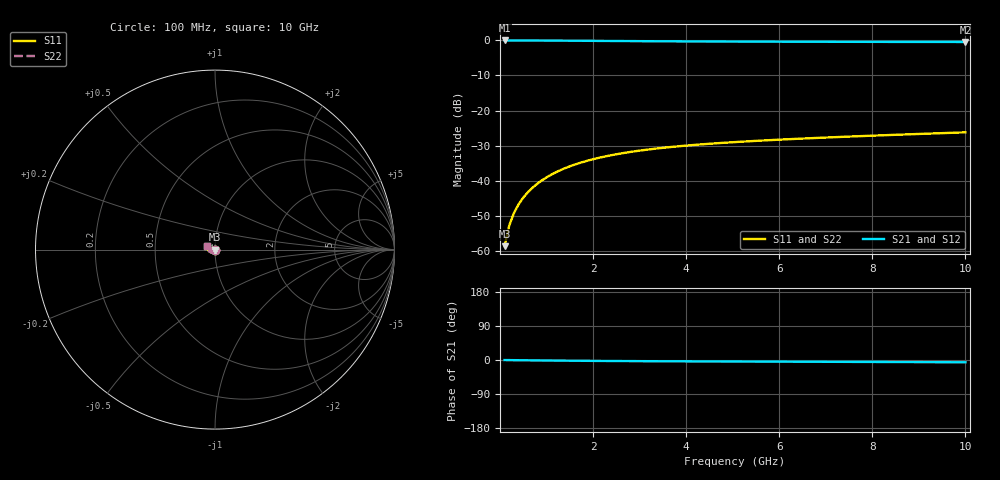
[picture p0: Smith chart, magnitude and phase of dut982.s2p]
! Touchstone file exported from HFSS 2024.1.0
!  File:  C:/UserFiles/LocalFiles/RDL_TSV_Batchsim/temp_TSV1_982_1779952079.aedt
!  Generated:  03:13:51 PM May 28, 2026
!  Design:  TSV1
!  Project:  temp_TSV1_982_1779952079
!  Setup:  Setup1
!  Solution:  Sweep
! Variables:
!  dtsv = 9.14um
!  hbump = 3um
!  htsv = 90.71um
!  lrdl = 252.1521522um
!  p = 40
!  p1 = 59.82um
!  t = 500um
!  trdl = 3um
!  wrdl = 24.89489489um
# GHz S MA R 50.000000
! Terminal data exported
! Port[1] = TSV22_T1
! Port[2] = TSV22_T2
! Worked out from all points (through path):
!   100 points, 100 MHz to 10 GHz, reference 50 ohm
!   highest |S21| = 0.00 dB at 100 MHz (marker M1); lowest = -0.4 dB at 10 GHz (marker M2)
!   lowest |S11| = -58.7 dB at 100 MHz (marker M3), VSWR 1.00, Z = 50 - j0.115 ohm
!   |S11| at or under -10 dB: start of sweep to end of sweep
!   |S22| runs from -58.7 to -26.2 dB; largest |S21 - S12| = 7.3e-15
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0.1  0.001158 -82.9  0.9998 -0.1  0.9998 -0.1  0.001158 -82.9
! Gamma 0 0 0 0
! Port Impedance 50 0 50 0
0.2  0.002296 -89.5  0.9996 -0.3  0.9996 -0.3  0.002296 -89.5
0.3  0.003437 -93.2  0.9994 -0.4  0.9994 -0.4  0.003437 -93.2
0.4  0.004574 -96.1  0.9991 -0.5  0.9991 -0.5  0.004574 -96.1
0.5  0.005701 -98.7  0.9987 -0.7  0.9987 -0.7  0.005701 -98.7
0.6  0.006816 -101.2  0.9982 -0.8  0.9982 -0.8  0.006816 -101.2
0.7  0.007916 -103.6  0.9977 -0.9  0.9977 -0.9  0.007916 -103.6
0.8  0.008998 -105.8  0.9971 -1.1  0.9971 -1.1  0.008998 -105.8
0.9  0.01006 -108.1  0.9964 -1.2  0.9964 -1.2  0.01006 -108.1
1.1  0.01212 -112.4  0.9949 -1.4  0.9949 -1.4  0.01212 -112.4
1.4  0.01503 -118.5  0.9923 -1.8  0.9923 -1.8  0.01503 -118.5
1.6  0.01685 -122.4  0.9905 -2.0  0.9905 -2.0  0.01685 -122.4
1.8  0.01856 -126.1  0.9886 -2.1  0.9886 -2.1  0.01856 -126.1
2.1  0.02093 -131.4  0.9857 -2.4  0.9857 -2.4  0.02093 -131.4
2.5  0.02374 -138.0  0.9819 -2.7  0.9819 -2.7  0.02374 -138.0
2.9  0.0262 -144.1  0.9782 -3.0  0.9782 -3.0  0.0262 -144.1
3.4  0.02886 -151.0  0.9741 -3.2  0.9741 -3.2  0.02886 -151.0
4.2  0.03237 -160.7  0.9686 -3.6  0.9686 -3.6  0.03237 -160.7
5.1  0.0356 -170.0  0.9638 -4.0  0.9638 -4.0  0.0356 -170.0
6.7  0.04032 176.5  0.9578 -4.6  0.9578 -4.6  0.04032 176.5
8.4  0.04476 165.1  0.9537 -5.3  0.9537 -5.3  0.04476 165.1
10  0.0488 156.3  0.9511 -6.0  0.9511 -6.0  0.0488 156.3
